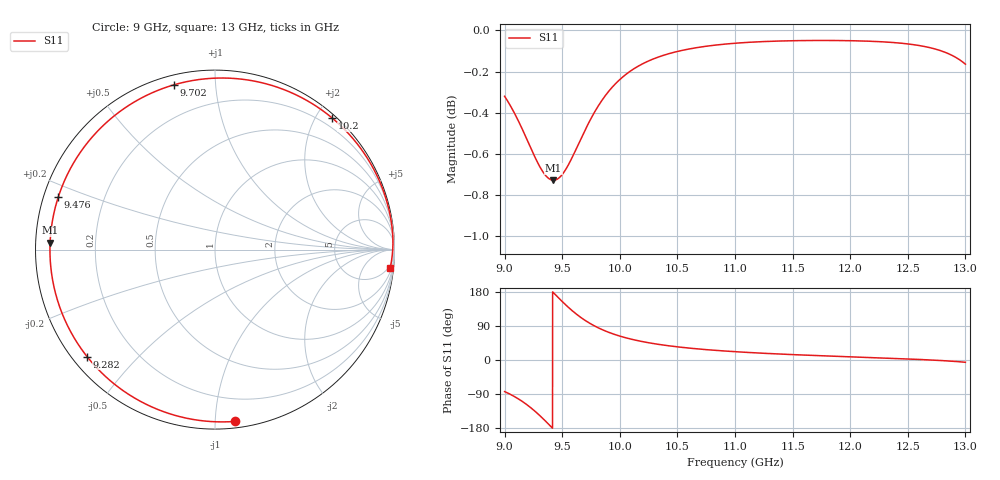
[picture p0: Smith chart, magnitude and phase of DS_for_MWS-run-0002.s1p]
! TOUCHSTONE file generated by CST DESIGN STUDIO
! Date and time: Tue Feb  4 16:14:21 2025
! Project name: C:\Work\MatlabApps\UnitCellOptimizationMatlab\CST\unitcell.cst
! Tree item: Tasks\Sweep1\SPara1\S-Parameters
! Header version: 2024
! Port assignment regex: !\s*Touchstone port\s*([0-9]+)\s*=\s*(CST MWS port|CST DES external port|CST DES block port)\s*(.+)\s* \(\"(.*)\"\)(\s*mode\s*([0-9]+))?.*
! Touchstone port assignment:
! Touchstone port 1 = CST DES external port 1 ("")
# GHz S MA R 50
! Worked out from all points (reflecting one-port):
!   4001 points, 9 GHz to 13 GHz, reference 50 ohm
!   lowest |S11| = -0.7 dB at 9.424 GHz (marker M1), VSWR 23.86, Z = 2.1 + j1.06 ohm
!   phase of S11 starts at -83 deg and turns -283 deg over the sweep
!   S11 on the Smith chart (normalised r, x): 9 GHz: 0.04, -1.12; 9.282 GHz: 0.04, -0.36; 9.476 GHz: 0.04, +0.16; 9.702 GHz: 0.04, +0.78; 10.2 GHz: 0.06, +2.23; 13 GHz: 3, -19
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9  0.9638 -83.3
9.085  0.9548 -96.4
9.156  0.9459 -109.8
9.22  0.9373 -124.2
9.282  0.9292 -140.1
9.357  0.9219 -161.8
9.391  0.9202 -172.2
9.424  0.9196 177.6
9.476  0.921 161.5
9.5  0.9225 154.3
9.55  0.9271 140.0
9.599  0.9329 127.0
9.649  0.9394 115.1
9.702  0.9462 103.9
9.768  0.9539 92.0
9.847  0.9618 80.1
9.921  0.9678 71.1
10  0.9729 63.1
10.095  0.9776 55.3
10.202  0.9816 48.2
10.339  0.9853 41.1
10.5  0.9883 34.7
10.723  0.9909 28.0
11  0.9928 21.9
11.5  0.9942 14.2
12  0.9943 8.4
12.5  0.9925 2.8
13  0.9813 -6.0
